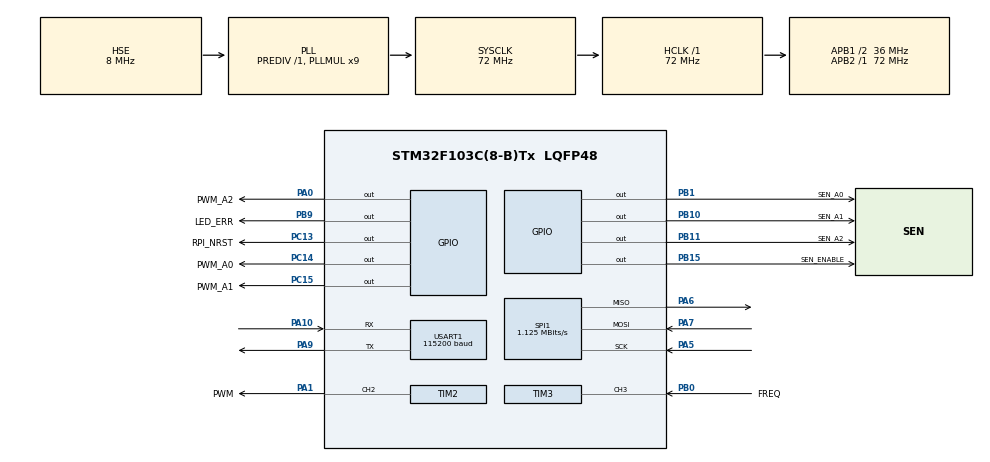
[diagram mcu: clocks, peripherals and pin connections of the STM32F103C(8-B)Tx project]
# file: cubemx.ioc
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IWDG.Prescaler=IWDG_PRESCALER_16
Mcu.Family=STM32F1
Mcu.Name=STM32F103C(8-B)Tx
Mcu.Package=LQFP48
NVIC.PriorityGroup=NVIC_PRIORITYGROUP_4
NVIC.SPI1_IRQn=true\:2\:0\:true
NVIC.TIM2_IRQn=true\:3\:0\:true
NVIC.TIM3_IRQn=true\:1\:0\:true
NVIC.USART1_IRQn=true\:3\:0\:true
PA0-WKUP.GPIO_Label=PWM_A2
PA0-WKUP.GPIO_ModeDefaultOutputPP=GPIO_MODE_OUTPUT_PP
PA0-WKUP.GPIO_Speed=GPIO_SPEED_LOW
PA0-WKUP.Signal=GPIO_Output
PA1.GPIO_Label=PWM
PA1.GPIO_ModeDefaultPP=GPIO_MODE_AF_PP
PA1.GPIO_Speed=GPIO_SPEED_LOW
PA1.Signal=S_TIM2_CH2
PA10.Mode=Asynchronous
PA10.Signal=USART1_RX
PA13.Mode=Serial_Wire
PA13.Signal=SYS_JTMS-SWDIO
PA14.Mode=Serial_Wire
PA14.Signal=SYS_JTCK-SWCLK
PA5.Mode=Full_Duplex_Slave
PA5.Signal=SPI1_SCK
PA6.Mode=Full_Duplex_Slave
PA6.Signal=SPI1_MISO
PA7.Mode=Full_Duplex_Slave
PA7.Signal=SPI1_MOSI
PA9.Mode=Asynchronous
PA9.Signal=USART1_TX
PB0.GPIO_Label=FREQ
PB0.GPIO_Mode=GPIO_MODE_INPUT
PB0.GPIO_PuPd=GPIO_NOPULL
PB0.Signal=S_TIM3_CH3
PB1.GPIO_Label=SEN_A0
PB1.GPIO_ModeDefaultOutputPP=GPIO_MODE_OUTPUT_PP
PB1.GPIO_Speed=GPIO_SPEED_LOW
PB1.Signal=GPIO_Output
PB10.GPIO_Label=SEN_A1
PB10.GPIO_ModeDefaultOutputPP=GPIO_MODE_OUTPUT_PP
PB10.GPIO_Speed=GPIO_SPEED_LOW
PB10.Signal=GPIO_Output
PB11.GPIO_Label=SEN_A2
PB11.GPIO_ModeDefaultOutputPP=GPIO_MODE_OUTPUT_PP
PB11.GPIO_Speed=GPIO_SPEED_LOW
PB11.Signal=GPIO_Output
PB15.GPIO_Label=SEN_ENABLE
PB15.GPIO_ModeDefaultOutputPP=GPIO_MODE_OUTPUT_PP
PB15.GPIO_Speed=GPIO_SPEED_LOW
PB15.Signal=GPIO_Output
PB9.GPIO_Label=LED_ERR
PB9.GPIO_ModeDefaultOutputPP=GPIO_MODE_OUTPUT_PP
PB9.GPIO_Speed=GPIO_SPEED_LOW
PB9.Signal=GPIO_Output
PC13-TAMPER-RTC.GPIO_Label=RPI_NRST
PC13-TAMPER-RTC.GPIO_ModeDefaultOutputPP=GPIO_MODE_OUTPUT_OD
PC13-TAMPER-RTC.GPIO_Speed=GPIO_SPEED_LOW
PC13-TAMPER-RTC.Signal=GPIO_Output
PC14-OSC32_IN.GPIO_Label=PWM_A0
PC14-OSC32_IN.GPIO_ModeDefaultOutputPP=GPIO_MODE_OUTPUT_PP
PC14-OSC32_IN.GPIO_Speed=GPIO_SPEED_LOW
PC14-OSC32_IN.Signal=GPIO_Output
PC15-OSC32_OUT.GPIO_Label=PWM_A1
PC15-OSC32_OUT.GPIO_ModeDefaultOutputPP=GPIO_MODE_OUTPUT_PP
PC15-OSC32_OUT.GPIO_Speed=GPIO_SPEED_LOW
PC15-OSC32_OUT.Signal=GPIO_Output
PD0-OSC_IN.Mode=HSE-External-Oscillator
PD0-OSC_IN.Signal=RCC_OSC_IN
PD1-OSC_OUT.Mode=HSE-External-Oscillator
PD1-OSC_OUT.Signal=RCC_OSC_OUT
ProjectManager.TargetToolchain=SW4STM32
RCC.AHBFreq_Value=72000000
RCC.APB1CLKDivider=RCC_HCLK_DIV2
RCC.APB1Freq_Value=36000000
RCC.APB1TimFreq_Value=72000000
RCC.APB2Freq_Value=72000000
RCC.APB2TimFreq_Value=72000000
RCC.HCLKFreq_Value=72000000
RCC.HSIState=RCC_HSI_ON
RCC.PLLMUL=RCC_PLL_MUL9
RCC.PLLSourceVirtual=RCC_PLLSOURCE_HSE
RCC.SYSCLKFreq_VALUE=72000000
RCC.SYSCLKSource=RCC_SYSCLKSOURCE_PLLCLK
RCC.USBFreq_Value=48000000
RCC.USBPrescaler=RCC_USBPLLCLK_DIV1_5
RCC.VDD_VALUE=3.3
SH.S_TIM2_CH2.0=TIM2_CH2,PWM Generation2 CH2
SH.S_TIM3_CH3.0=TIM3_CH3,Input_Capture3_from_TI3
SPI1.BaudRatePrescaler=SPI_BAUDRATEPRESCALER_64
SPI1.CalculateBaudRate=1.125 MBits/s
SPI1.VirtualType=VM_SLAVE
TIM2.Channel-PWM\ Generation2\ CH2=TIM_CHANNEL_2
TIM2.ClockDivision=TIM_CLOCKDIVISION_DIV1
TIM2.Period=20000
TIM2.Prescaler=36
TIM2.Pulse-PWM\ Generation2\ CH2=0
TIM3.Channel-Input_Capture3_from_TI3=TIM_CHANNEL_3
TIM3.ClockDivision=TIM_CLOCKDIVISION_DIV4
TIM3.ICFilter_CH3=0x0
TIM3.ICPrescaler-Input_Capture3_from_TI3=TIM_ICPSC_DIV4
TIM3.Period=0xffff
TIM3.Prescaler=0
USART1.BaudRate=115200
VP_IWDG_VS_IWDG.Mode=IWDG_Activate
VP_TIM2_VS_ClockSourceINT.Mode=Internal
board=cubemx

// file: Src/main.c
/**
  ******************************************************************************
  * File Name          : main.c
  * Description        : Main program body
  ******************************************************************************
  *
  * COPYRIGHT(c) 2016 STMicroelectronics
  *
  * Redistribution and use in source and binary forms, with or without modification,
  * are permitted provided that the following conditions are met:
  *   1. Redistributions of source code must retain the above copyright notice,
  *      this list of conditions and the following disclaimer.
  *   2. Redistributions in binary form must reproduce the above copyright notice,
  *      this list of conditions and the following disclaimer in the documentation
  *      and/or other materials provided with the distribution.
  *   3. Neither the name of STMicroelectronics nor the names of its contributors
  *      may be used to endorse or promote products derived from this software
  *      without specific prior written permission.
  *
  * THIS SOFTWARE IS PROVIDED BY THE COPYRIGHT HOLDERS AND CONTRIBUTORS "AS IS"
  * AND ANY EXPRESS OR IMPLIED WARRANTIES, INCLUDING, BUT NOT LIMITED TO, THE
  * IMPLIED WARRANTIES OF MERCHANTABILITY AND FITNESS FOR A PARTICULAR PURPOSE ARE
  * DISCLAIMED. IN NO EVENT SHALL THE COPYRIGHT HOLDER OR CONTRIBUTORS BE LIABLE
  * FOR ANY DIRECT, INDIRECT, INCIDENTAL, SPECIAL, EXEMPLARY, OR CONSEQUENTIAL
  * DAMAGES (INCLUDING, BUT NOT LIMITED TO, PROCUREMENT OF SUBSTITUTE GOODS OR
  * SERVICES; LOSS OF USE, DATA, OR PROFITS; OR BUSINESS INTERRUPTION) HOWEVER
  * CAUSED AND ON ANY THEORY OF LIABILITY, WHETHER IN CONTRACT, STRICT LIABILITY,
  * OR TORT (INCLUDING NEGLIGENCE OR OTHERWISE) ARISING IN ANY WAY OUT OF THE USE
  * OF THIS SOFTWARE, EVEN IF ADVISED OF THE POSSIBILITY OF SUCH DAMAGE.
  *
  ******************************************************************************
  */
#include "stm32f1xx_hal.h"
#include "iwdg.h"
#include "spi.h"
#include "tim.h"
#include "usart.h"
#include "gpio.h"

/* USER CODE BEGIN Includes */
/** @addtogroup Main
  * @{
  */

/* ============ DEFINES ============== */
// GENERAL
#define VERSION (uint8_t)1

// TOOLCHAIN INCLUDES
#include <stdint.h>
#include <stdbool.h>

// APP INCLUDES
#include <mxconstants.h>
#include <stuff.h>
#include <scheduler.h>
#include <spicomm.h>
#include <log.h>
#include <moistureMeasure.h>
#include <motors.h>

/* USER CODE END Includes */

/* USER CODE BEGIN PV */
/* Private variables ---------------------------------------------------------*/

/* USER CODE END PV */

void SystemClock_Config(void);

/* USER CODE BEGIN PFP */
/* Private function prototypes -----------------------------------------------*/

/* USER CODE END PFP */

/* USER CODE BEGIN 0 */

/*! this is for printf.c to handle output */
void PrintChar(char c) { HAL_UART_Transmit(&huart1, (uint8_t *)&c, 1, 50); }

/*!
 * @brief task for resetting watchdog
 */
void resetIWDG(void) { WatchdogReset(&hiwdg); }

/*!
 * @brief task for printing debug stuff
 */
void debugInfo(void) {
    // spiDebug(&huart1);
}

/*!
 * @brief process SPI receive queue
 */
void SPIrecvProc(void) {
    char buf[SPI_XFER_SIZE];
    if (spiReceive(buf)) {
        LogUart(LogInfo, "SPI messages was received");
    }
}

/*! Scheduler task configuration table */
TaskType Tasks[] = {
    {INTERVAL_1S, 0, resetIWDG},    {INTERVAL_1S, 0, AliveTicker},
    {INTERVAL_500MS, 0, MoistureTask}, {INTERVAL_5S, 0, printMoisture},
    {INTERVAL_5S, 0, debugInfo},    {INTERVAL_250MS, 0, SPIrecvProc},
    {INTERVAL_100MS, 0, motTask100ms},  {INTERVAL_1S, 0, motTask1s}
};

/* USER CODE END 0 */

int main(void)
{

  /* MCU Configuration----------------------------------------------------------*/

  /* Reset of all peripherals, Initializes the Flash interface and the Systick. */
  HAL_Init();

  /* Configure the system clock */
  SystemClock_Config();

  /* Initialize all configured peripherals */
  MX_GPIO_Init();
  MX_IWDG_Init();
  MX_SPI1_Init();
  MX_TIM2_Init();
  MX_TIM3_Init();
  MX_USART1_UART_Init();

  /* USER CODE BEGIN 2 */

    // setup SPI
    spiQueueInit();

    // setup logging, first UART, later with SPI
    logSetDestination(LogDstSerConsole);
    logSetFilter(LogDebug | LogError | LogInfo);

    // nice greetings
    Log(LogInfo, "WaterCtrl version %d", VERSION);
    Log(LogInfo, "System clock: %dMHz", (uint8_t)(SystemCoreClock / 1000000));

    HAL_Delay(1000);

    // init modules
    initMoistureMeasure(&htim3);
    motInit(&htim2);

    // init scheduling
    initScheduler(Tasks, ARRAYSIZE(Tasks));

  /* USER CODE END 2 */

  /* Infinite loop */
  /* USER CODE BEGIN WHILE */

    // start watchdog
    WatchdogStart(&hiwdg);

    Log(LogDebug, "reaching mainloop");

    // enable SPI logging
    logSetDestination(LogDstSerConsole | LogDstRaspberryPi);

    while (true) {

        // scheduling
            doScheduling();

  /* USER CODE END WHILE */

    }

}

/** System Clock Configuration
*/
void SystemClock_Config(void)
{

  RCC_OscInitTypeDef RCC_OscInitStruct;
  RCC_ClkInitTypeDef RCC_ClkInitStruct;

  RCC_OscInitStruct.OscillatorType = RCC_OSCILLATORTYPE_LSI|RCC_OSCILLATORTYPE_HSE;
  RCC_OscInitStruct.HSEState = RCC_HSE_ON;
  RCC_OscInitStruct.HSEPredivValue = RCC_HSE_PREDIV_DIV1;
  RCC_OscInitStruct.LSIState = RCC_LSI_ON;
  RCC_OscInitStruct.PLL.PLLState = RCC_PLL_ON;
  RCC_OscInitStruct.PLL.PLLSource = RCC_PLLSOURCE_HSE;
  RCC_OscInitStruct.PLL.PLLMUL = RCC_PLL_MUL9;
  HAL_RCC_OscConfig(&RCC_OscInitStruct);

  RCC_ClkInitStruct.ClockType = RCC_CLOCKTYPE_SYSCLK|RCC_CLOCKTYPE_PCLK1;
  RCC_ClkInitStruct.SYSCLKSource = RCC_SYSCLKSOURCE_PLLCLK;
  RCC_ClkInitStruct.AHBCLKDivider = RCC_SYSCLK_DIV1;
  RCC_ClkInitStruct.APB1CLKDivider = RCC_HCLK_DIV2;
  RCC_ClkInitStruct.APB2CLKDivider = RCC_HCLK_DIV1;
  HAL_RCC_ClockConfig(&RCC_ClkInitStruct, FLASH_LATENCY_2);

  HAL_SYSTICK_Config(HAL_RCC_GetHCLKFreq()/1000);

  HAL_SYSTICK_CLKSourceConfig(SYSTICK_CLKSOURCE_HCLK);

  /* SysTick_IRQn interrupt configuration */
  HAL_NVIC_SetPriority(SysTick_IRQn, 0, 0);
}

/* USER CODE BEGIN 4 */
/**
  * @}
  */
/* USER CODE END 4 */

#ifdef USE_FULL_ASSERT

/**
   * @brief Reports the name of the source file and the source line number
   * where the assert_param error has occurred.
   * @param file: pointer to the source file name
   * @param line: assert_param error line source number
   * @retval None
   */
void assert_failed(uint8_t* file, uint32_t line)
{
  /* USER CODE BEGIN 6 */
    /* User can add his own implementation to report the file name and line
       number,
         ex: printf("Wrong parameters value: file %s on line %d\r\n", file,
       line)
       */
  /* USER CODE END 6 */

}

#endif

/************************ (C) COPYRIGHT STMicroelectronics *****END OF FILE****/
